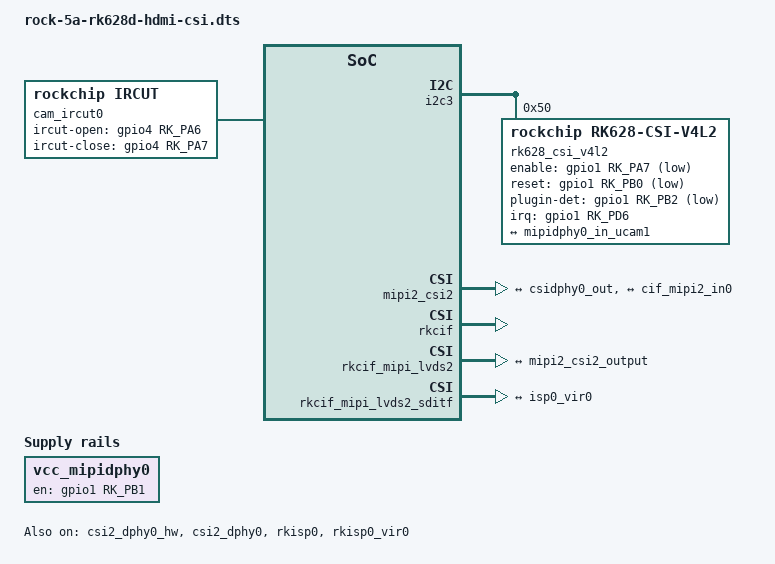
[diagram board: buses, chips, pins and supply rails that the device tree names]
/dts-v1/;
/plugin/;

#include <dt-bindings/clock/rk3588-cru.h>
#include <dt-bindings/power/rk3588-power.h>
#include <dt-bindings/gpio/gpio.h>
#include <dt-bindings/pinctrl/rockchip.h>

/ {
    metadata {
        title = "Enable RK628 HDMI to MIPI CSI Adapter";
        compatible = "radxa,rock-5c";
        category = "camera";
        exclusive = "csi2_dphy0";
        description = "Enable RK628 HDMI to MIPI CSI Adapter";
    };

    cam_ircut0: cam_ircut {
        status = "okay";
        compatible = "rockchip,ircut";
        ircut-open-gpios = <&gpio4 RK_PA6 GPIO_ACTIVE_HIGH>;
        ircut-close-gpios = <&gpio4 RK_PA7 GPIO_ACTIVE_HIGH>;
        rockchip,camera-module-index = <0>;
        rockchip,camera-module-facing = "back";
    };

    vcc_mipidphy0: vcc-mipidcphy0-regulator {
        status = "okay";
        compatible = "regulator-fixed";
        gpio = <&gpio1 RK_PB1 GPIO_ACTIVE_HIGH>;
        pinctrl-names = "default";
        pinctrl-0 = <&mipidphy0_pwr>;
        regulator-name = "vcc_mipidphy0";
        enable-active-high;
    };
};

&i2c3 {
    status = "okay";
    #address-cells = <1>;
    #size-cells = <0>;

    rk628_csi_v4l2: rk628_csi_v4l2@50 {
        reg = <0x50>;
        compatible = "rockchip,rk628-csi-v4l2";
        interrupt-parent = <&gpio1>;
        interrupts = <RK_PD6 IRQ_TYPE_LEVEL_HIGH>;
        enable-gpios = <&gpio1 RK_PA7 GPIO_ACTIVE_LOW>;
        reset-gpios = <&gpio1 RK_PB0 GPIO_ACTIVE_LOW>;
        plugin-det-gpios = <&gpio1 RK_PB2 GPIO_ACTIVE_LOW>;
        rockchip,camera-module-index = <0>;
        rockchip,camera-module-facing = "back";
        rockchip,camera-module-name = "RK628-CSI";
        rockchip,camera-module-lens-name = "NC";
        port {
            hdmiin_out0: endpoint {
                remote-endpoint = <&mipidphy0_in_ucam1>;
                data-lanes = <1 2 3 4>;
            };
        };
    };
};

&csi2_dphy0_hw {
    status = "okay";
};

&csi2_dphy0 {
    status = "okay";

    ports {
        #address-cells = <1>;
        #size-cells = <0>;

        port@0 {
            reg = <0>;
            #address-cells = <1>;
            #size-cells = <0>;

            mipidphy0_in_ucam1: endpoint@2 {
                reg = <2>;
                remote-endpoint = <&hdmiin_out0>;
                data-lanes = <1 2 3 4>;
            };
        };

        port@1 {
            reg = <1>;
            #address-cells = <1>;
            #size-cells = <0>;

            csidphy0_out: endpoint@0 {
                reg = <0>;
                remote-endpoint = <&mipi2_csi2_input>;
            };
        };
    };
};

&mipi2_csi2 {
    status = "okay";

    ports {
        #address-cells = <1>;
        #size-cells = <0>;

        port@0 {
            reg = <0>;
            #address-cells = <1>;
            #size-cells = <0>;

            mipi2_csi2_input: endpoint@0 {
                reg = <0>;
                remote-endpoint = <&csidphy0_out>;
            };
        };

        port@1 {
            reg = <1>;
            #address-cells = <1>;
            #size-cells = <0>;

            mipi2_csi2_output: endpoint@0 {
                reg = <0>;
                remote-endpoint = <&cif_mipi2_in0>;
            };
        };
    };
};

&rkcif {
    status = "okay";
};

&rkcif_mipi_lvds2 {
    status = "okay";
    
    port {
        cif_mipi2_in0: endpoint {
            remote-endpoint = <&mipi2_csi2_output>;
        };
    };
};

&rkcif_mipi_lvds2_sditf {
    status = "okay";
    port {
        mipi_lvds2_sditf: endpoint {
            remote-endpoint = <&isp0_vir0>;
        };
    };
};

&rkcif_mmu {
    status = "okay";
};

&isp0_mmu {
    status = "okay";
};

&rkisp0 {
    status = "okay";
};

&rkisp0_vir0 {
    status = "okay";
    port {
        #address-cells = <1>;
        #size-cells = <0>;
        isp0_vir0: endpoint@0 {
            reg = <0>;
            remote-endpoint = <&mipi_lvds2_sditf>;
        };
    };
};

&pinctrl {
    cam {
        mipidphy0_pwr: mipidphy0-pwr {
            rockchip,pins = <1 RK_PB1 RK_FUNC_GPIO &pcfg_pull_none>;
        };
    };
};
